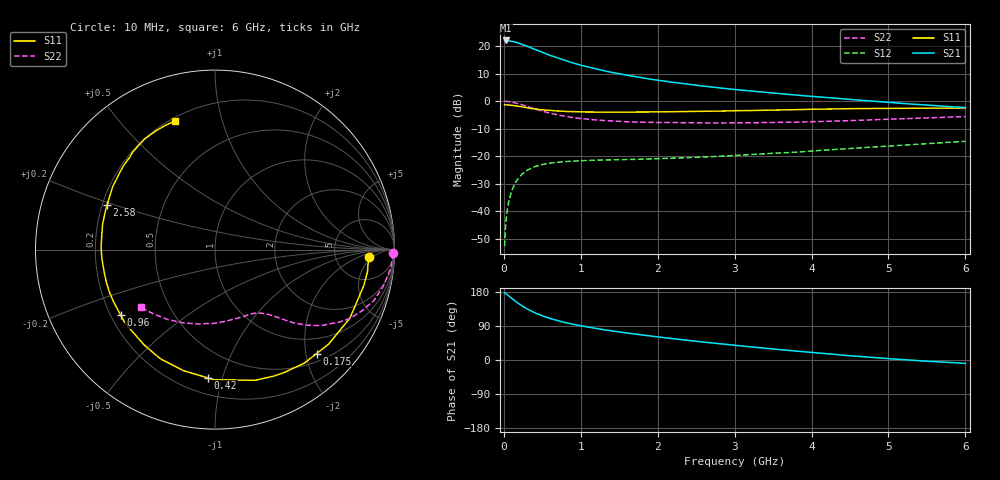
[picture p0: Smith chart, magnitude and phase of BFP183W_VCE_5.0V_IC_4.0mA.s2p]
! Infineon Technologies  Discrete & RF Semiconductors
! BFP183W
! VCE = 5.0 V,  IC =  4.0 mA
! Common Emitter S-Parameters:  Jan 2016
# GHz  S  MA  R  50
!  f  S11  S21  S12  S22
! GHz  MAG  ANG  MAG  ANG  MAG  ANG  MAG  ANG
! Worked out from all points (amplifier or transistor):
!   210 points, 10 MHz to 6 GHz, reference 50 ohm
!   highest |S21| = 22.1 dB at 30 MHz (marker M1)
!   |S21| within 3 dB of that: start of sweep to 380.5 MHz
!   unconditionally stable (mu >= 1): 1.96 GHz to 5.891 GHz
!   at 185 MHz: K = 0.13, MSG = 24.7 dB, |S12| = -28.2 dB
!   at 1.52 GHz: K = 0.83, MSG = 15.6 dB, |S12| = -21.3 dB
!   at 6 GHz: K = 0.99, MSG = 6.1 dB, |S12| = -14.6 dB
!   S11 on the Smith chart (normalised r, x): 10 MHz: 12, -4; 175 MHz: 0.66, -2.21; 420 MHz: 0.31, -0.90; 960 MHz: 0.24, -0.29; 2.58 GHz: 0.22, +0.19; 6 GHz: 0.22, +0.71
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0.01  0.8614 -2.8  12.64 177.4  0.0023 90.3  0.9941 -1.2
0.03  0.8586 -8.2  12.7 175.0  0.007 86.0  0.9887 -3.7
0.1  0.8431 -26.9  12.29 163.2  0.0227 75.9  0.9617 -11.9
0.15  0.8236 -39.8  11.88 155.0  0.0329 68.6  0.9303 -17.6
0.175  0.8097 -45.7  11.55 151.4  0.037 65.5  0.9092 -19.9
0.2  0.8047 -51.8  11.27 147.6  0.0412 63.1  0.8897 -22.4
0.24  0.7858 -60.6  10.77 142.6  0.0474 58.7  0.8554 -25.8
0.3  0.7616 -73.0  9.986 134.9  0.0549 52.9  0.8025 -30.2
0.42  0.716 -93.1  8.552 123.2  0.0654 44.3  0.7097 -36.6
0.5  0.6971 -104.5  7.702 116.3  0.0704 40.1  0.6567 -39.8
0.6  0.6802 -116.5  6.81 109.4  0.0747 35.9  0.6035 -42.7
0.7  0.6625 -126.3  6.101 103.7  0.0776 32.9  0.5621 -44.7
0.8  0.6497 -134.6  5.455 98.6  0.0796 30.5  0.5289 -46.5
0.96  0.6391 -145.4  4.679 92.0  0.0819 28.0  0.4908 -48.7
1.02  0.6357 -148.9  4.431 89.6  0.0827 27.3  0.4797 -49.6
1.4  0.6303 -167.0  3.342 76.9  0.0856 25.3  0.4362 -54.3
2.02  0.6371 171.8  2.38 60.6  0.0901 26.9  0.4083 -62.9
2.58  0.6502 157.7  1.888 47.7  0.0959 30.1  0.4017 -72.3
3.1  0.6715 146.4  1.581 37.0  0.1046 32.8  0.4033 -81.9
4.1  0.7142 128.6  1.193 18.2  0.1266 36.2  0.4255 -103.7
5.1  0.7398 115.7  0.927 2.3  0.1555 36.2  0.4741 -126.0
6  0.7511 107.4  0.763 -9.0  0.1859 34.1  0.524 -142.3
